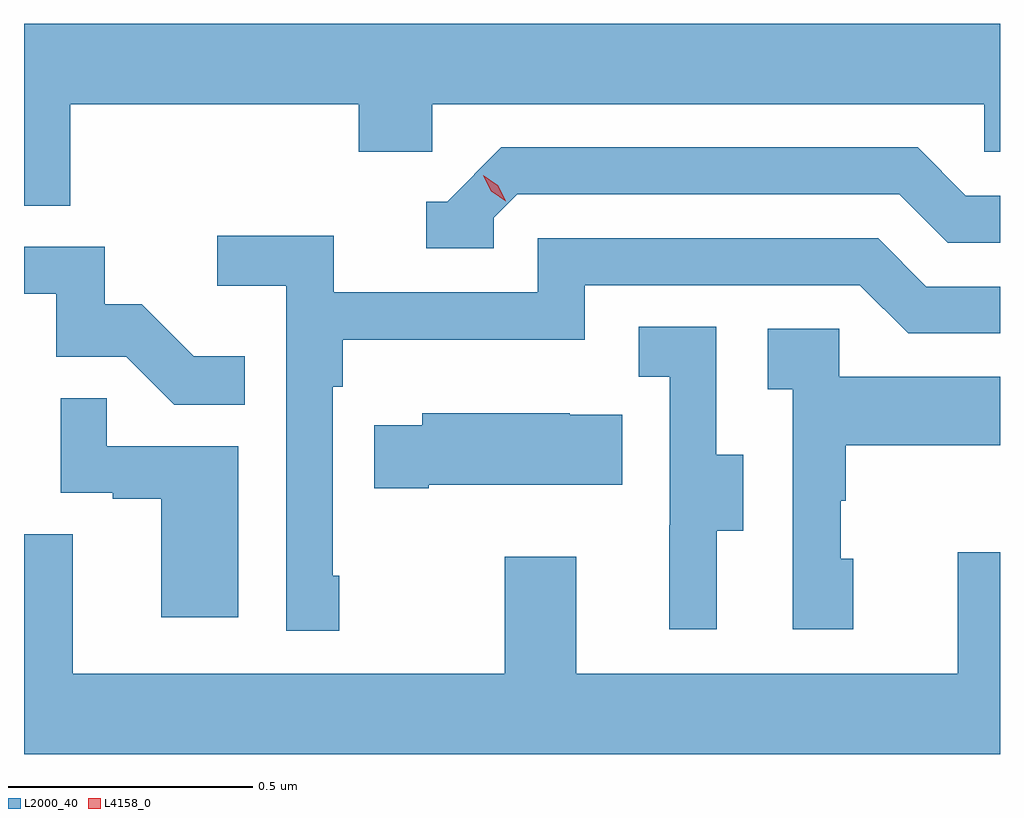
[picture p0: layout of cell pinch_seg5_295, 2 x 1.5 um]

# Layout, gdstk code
import gdstk
lib = gdstk.Library(unit=1e-6, precision=1e-09)
def P(c, l, *ps):  # polygons
    for p in ps: c.add(gdstk.Polygon(p, *l))
L2000_40 = (2000, 40)
L4158_0 = (4158, 0)

pinch_seg5_295 = lib.new_cell('pinch_seg5_295')
P(pinch_seg5_295, L2000_40, [(945.044,906.044),(945.635,906.044),(945.635,905.946),(945.786,905.946),(945.786,906.044),(946.917,906.044),(946.917,905.946),(946.949,905.946),(946.949,906.208),(944.949,906.208),(944.949,905.836),(945.044,905.836)],
  [(945.912,905.811),(945.96,905.859),(946.743,905.859),(946.842,905.76),(946.949,905.76),(946.949,905.856),(946.879,905.856),(946.78,905.955),(945.927,905.955),(945.816,905.844),(945.773,905.844),(945.773,905.748),(945.912,905.748)],
  [(945.595,905.077),(945.582,905.077),(945.582,905.465),(945.602,905.465),(945.602,905.561),(946.098,905.561),(946.098,905.673),(946.662,905.673),(946.761,905.574),(946.949,905.574),(946.949,905.67),(946.798,905.67),(946.699,905.769),(946.002,905.769),(946.002,905.658),(945.584,905.658),(945.584,905.774),(945.345,905.774),(945.345,905.672),(945.486,905.672),(945.486,904.965),(945.595,904.965)],
  [(945.401,905.527),(945.297,905.527),(945.19,905.634),(945.114,905.634),(945.114,905.751),(944.949,905.751),(944.949,905.655),(945.015,905.655),(945.015,905.526),(945.159,905.526),(945.257,905.428),(945.401,905.428)],
  [(946.369,905.17),(946.423,905.17),(946.423,905.325),(946.368,905.325),(946.368,905.588),(946.209,905.588),(946.209,905.485),(946.272,905.485),(946.272,905.181),(946.271,905.181),(946.271,904.968),(946.369,904.968)],
  [(946.648,905.112),(946.623,905.112),(946.623,905.231),(946.633,905.231),(946.633,905.345),(946.949,905.345),(946.949,905.485),(946.62,905.485),(946.62,905.583),(946.473,905.583),(946.473,905.459),(946.524,905.459),(946.524,904.968),(946.648,904.968)],
  [(945.388,905.343),(945.119,905.343),(945.119,905.441),(945.024,905.441),(945.024,905.247),(945.131,905.247),(945.131,905.235),(945.23,905.235),(945.23,904.992),(945.388,904.992)],
  [(945.778,905.264),(946.175,905.264),(946.175,905.407),(946.067,905.407),(946.067,905.41),(945.765,905.41),(945.765,905.386),(945.667,905.386),(945.667,905.257),(945.778,905.257)],
  [(946.949,905.125),(946.862,905.125),(946.862,904.876),(946.081,904.876),(946.081,905.116),(945.934,905.116),(945.934,904.876),(945.049,904.876),(945.049,905.162),(944.949,905.162),(944.949,904.712),(946.949,904.712)])
P(pinch_seg5_295, L4158_0, [(945.936,905.845),(945.906,905.865),(945.89,905.897),(945.89,905.898),(945.89,905.898),(945.92,905.878),(945.936,905.846),(945.936,905.845)])

lib.write_gds('pinch_seg5_295.gds')
